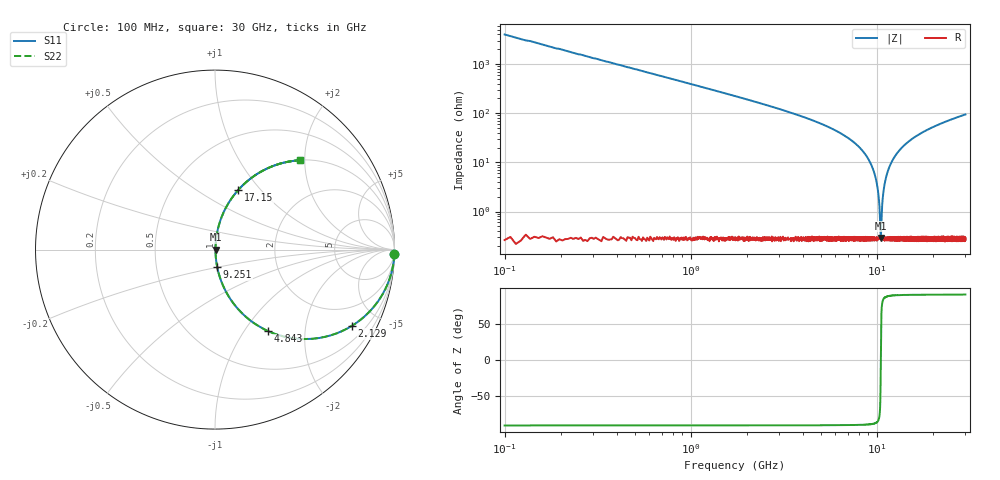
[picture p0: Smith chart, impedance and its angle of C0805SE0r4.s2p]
! AVX Thin Film Operation		Date: April 2012
! Description: Accu-P® Series, Thin Film, SMD, RF Capacitor
! Part Number: 08051J0R4PBTTR
!	100	MHz	-	30.05	GHz
!	Serial	Measurements
#	MHZ	S	MA	R	50
!	S11	S21	S12	S22
!	dB	Phase	dB	Phase	dB	Phase	dB	Phase
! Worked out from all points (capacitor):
!   4010 points, 100 MHz to 30 GHz, reference 50 ohm
!   read as one part in series: C = 400 fF near 249.2 MHz
!   lowest |Z| = 290 mohm at 10.53 GHz (marker M1)
!   series resonance near 10.53 GHz, so ESL is about 570 pH
!   S11 on the Smith chart (normalised r, x): 100 MHz: 0, -80; 2.129 GHz: 1.00, -3.59; 4.843 GHz: 1.01, -1.29; 9.251 GHz: 1.01, -0.20; 17.15 GHz: 1.01, +0.77; 30 GHz: 1.00, +1.89
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100  1 -1.4  0.025 88.6  0.025 88.6  1 -1.4
390.871  0.995 -5.6  0.098 84.4  0.098 84.4  0.995 -5.6
741.407  0.983 -10.6  0.184 79.4  0.184 79.4  0.983 -10.6
2128.636  0.873 -29.1  0.487 60.8  0.487 60.8  0.873 -29.1
4843.427  0.542 -56.9  0.838 32.9  0.838 32.9  0.542 -56.9
5089.549  0.513 -58.9  0.856 30.9  0.856 30.9  0.513 -58.9
7655.176  0.237 -75.6  0.969 13.7  0.969 13.7  0.237 -75.6
9251.235  0.097 -82.8  0.992 5.6  0.992 5.6  0.097 -82.8
10071.64  0.033 -83.3  0.997 1.9  0.997 1.9  0.033 -83.3
10265.55  0.019 -80.5  0.997 1.1  0.997 1.1  0.019 -80.5
10437.09  0.00695 -65.9  0.997 0.4  0.997 0.4  0.00695 -65.9
10526.59  0.00279 1.6  0.997 -0.0  0.997 -0.0  0.00279 1.6
10616.09  0.00704 66.2  0.997 -0.4  0.997 -0.4  0.00704 66.2
10780.17  0.018 80.2  0.997 -1.0  0.997 -1.0  0.018 80.2
10966.62  0.031 83.1  0.997 -1.8  0.997 -1.8  0.031 83.1
11645.32  0.076 83.5  0.994 -4.4  0.994 -4.4  0.076 83.5
12943.05  0.155 80.1  0.985 -8.9  0.985 -8.9  0.155 80.1
15053.73  0.266 74.0  0.961 -15.4  0.961 -15.4  0.266 74.0
17149.49  0.358 68.6  0.931 -20.9  0.931 -20.9  0.358 68.6
20035.82  0.461 62.2  0.885 -27.5  0.885 -27.5  0.461 62.2
25017.91  0.593 53.4  0.803 -36.4  0.803 -36.4  0.593 53.4
30000  0.686 46.5  0.726 -43.3  0.726 -43.3  0.686 46.5
